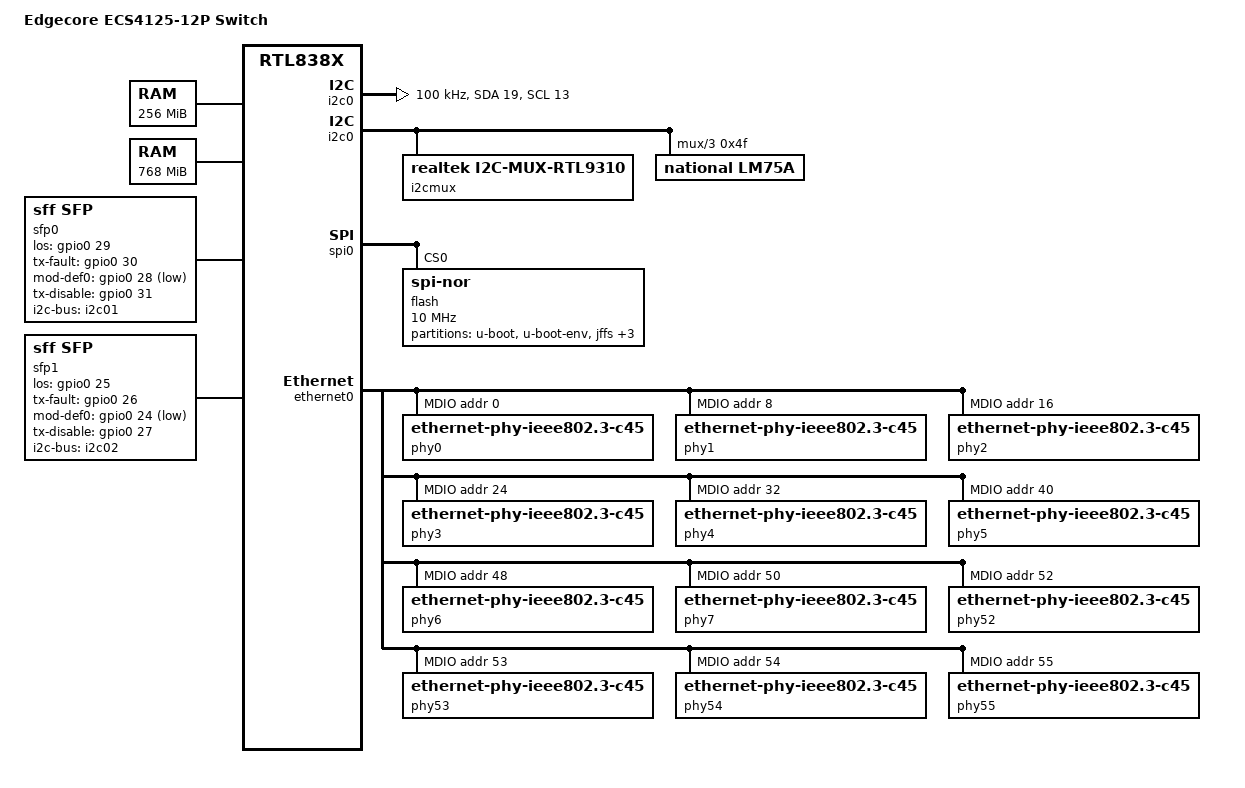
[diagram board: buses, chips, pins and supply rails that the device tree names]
/dts-v1/;

#include "rtl931x.dtsi"

#include <dt-bindings/input/input.h>
#include <dt-bindings/gpio/gpio.h>

/ {
	compatible = "edgecore,ecs4125-10p", "realtek,rtl838x-soc";
	model = "Edgecore ECS4125-12P Switch";
/*
	aliases {
		led-boot = &led_sys;
		led-failsafe = &led_sys;
		led-running = &led_sys;
		led-upgrade = &led_sys;
	};	
*/

	memory@0 {
		device_type = "memory";
		reg = <0x0 0x10000000>;
	};

	memory@90000000 {
		device_type = "memory";
		reg = <0x90000000 0x30000000>;
	};

	chosen {
		bootargs = "console=ttyS0,115200";
	};

	led_set: led_set@0 {
		compatible = "realtek,rtl9300-leds";
		led_set0 = <0x0000 0xffff 0x0a00 0x0bab>; // LED set 0: 2.5G/1G, 10/100Mbps
		led_set1 = <0x0000 0xffff 0x0a20 0x0a03>; // LED set 1: 10G, 1G
	};

	i2c0: i2c-rtl9310 {
		compatible = "realtek,rtl9310-i2c";
		reg = <0x1b001004 0x3c>;
		#address-cells = <1>;
		#size-cells = <0>;
		sda-pin = <19>;
		scl-pin = <13>;
		clock-frequency = <100000>;
	};

	i2cmux {
		compatible = "realtek,i2c-mux-rtl9310";
		#address-cells = <1>;
		#size-cells = <0>;
		i2c-parent = <&i2c0>;

		i2c01: i2c-rtl9310-1 {
			reg = <1>;
			#address-cells = <1>;
			#size-cells = <0>;
			sda-pin = <19>;
			scl-pin = <13>;
		};

		i2c02: i2c-rtl9310-2 {
			reg = <2>;
			#address-cells = <1>;
			#size-cells = <0>;
			sda-pin = <20>;
			scl-pin = <13>;
		};

		i2c03: i2c-rtl9310-3 {
			reg = <3>;
			#address-cells = <1>;
			#size-cells = <0>;
			sda-pin = <15>;
			scl-pin = <14>;

			lm75a@4f {
				compatible = "national,lm75a";
				reg = <0x4f>;
			};

		};
	};

	sfp0: sfp-p9 {
		compatible = "sff,sfp";
		i2c-bus = <&i2c01>;
		los-gpio = <&gpio0 29 GPIO_ACTIVE_HIGH>;
		tx-fault-gpio = <&gpio0 30 GPIO_ACTIVE_HIGH>;
		mod-def0-gpio = <&gpio0 28 GPIO_ACTIVE_LOW>;
		tx-disable-gpio = <&gpio0 31 GPIO_ACTIVE_HIGH>;
	};

	sfp1: sfp-p10 {
		compatible = "sff,sfp";
		i2c-bus = <&i2c02>;
		los-gpio = <&gpio0 25 GPIO_ACTIVE_HIGH>;
		tx-fault-gpio = <&gpio0 26 GPIO_ACTIVE_HIGH>;
		mod-def0-gpio = <&gpio0 24 GPIO_ACTIVE_LOW>;
		tx-disable-gpio = <&gpio0 27 GPIO_ACTIVE_HIGH>;
	};

};

&spi0 {
	status = "okay";
	flash@0 {
		compatible = "jedec,spi-nor";
		reg = <0>;
		spi-max-frequency = <10000000>;

		partitions {
			compatible = "fixed-partitions";
			#address-cells = <1>;
			#size-cells = <1>;

			partition@0 {
				label = "u-boot";
				reg = <0x0 0x100000>;
			};
			partition@100000 {
				label = "u-boot-env";
				reg = <0x100000 0x10000>;
			};
			partition@120000 {
				label = "jffs";
				reg = <0x120000 0x100000>;
			};
			partition@220000 {
				label = "jffs2";
				reg = <0x220000 0x100000>;
			};
			partition@320000 {
				label = "firmware";
				reg = <0x320000 0x1e80000>;
				compatible = "openwrt,uimage", "denx,uimage";
			};
			partition@2200000 {
				label = "runtime2";
				reg = <0x2200000 0x1e00000>;
			};
		};
	};
};

&ethernet0 {
	mdio: mdio-bus {
		compatible = "realtek,rtl838x-mdio";
		regmap = <&ethernet0>;
		#address-cells = <1>;
		#size-cells = <0>;
		
		/* 8 External RTL8221D PHYs */
		phy0: ethernet-phy@0 {
			reg = <0>;
			compatible = "ethernet-phy-ieee802.3-c45";
			rtl9300,smi-address = <0 4>;
			sds = < 2 >;
		};
		phy1: ethernet-phy@1 {
			reg = <8>;
			compatible = "ethernet-phy-ieee802.3-c45";
			rtl9300,smi-address = <0 2>;
			sds = < 3 >;
		};
		phy2: ethernet-phy@2 {
			reg = <16>;
			compatible = "ethernet-phy-ieee802.3-c45";
			rtl9300,smi-address = <0 6>;
			sds = < 4 >;
		};
		phy3: ethernet-phy@3 {
			reg = <24>;
			compatible = "ethernet-phy-ieee802.3-c45";
			rtl9300,smi-address = <0 1>;
			sds = < 5 >;
		};
		phy4: ethernet-phy@4 {
			reg = <32>;
			compatible = "ethernet-phy-ieee802.3-c45";
			rtl9300,smi-address = <1 4>;
			sds = < 6 >;
		};
		phy5: ethernet-phy@5 {
			reg = <40>;
			compatible = "ethernet-phy-ieee802.3-c45";
			rtl9300,smi-address = <1 2>;
			sds = < 7 >;
		};
		phy6: ethernet-phy@6 {
			reg = <48>;
			compatible = "ethernet-phy-ieee802.3-c45";
			rtl9300,smi-address = <1 6>;
			sds = < 8 >;
		};
		phy7: ethernet-phy@7 {
			reg = <50>;
			compatible = "ethernet-phy-ieee802.3-c45";
			rtl9300,smi-address = <1 1>;
			sds = < 9 >;
		};

		/* RTL9313 Internal Serdes */
		// These do not actually exist, but are still wired
		// and configured in order to not confuse the LED polling
		phy52: ethernet-phy@8 {
			compatible = "ethernet-phy-ieee802.3-c45";
			phy-is-integrated;
			reg = <52>;
			sds = < 10 >;
			sds-tx-inverted;
		};
		phy53: ethernet-phy@9 {
			compatible = "ethernet-phy-ieee802.3-c45";
			phy-is-integrated;
			reg = <53>;
			sds = < 11 >;
			sds-tx-inverted;
		};

		// These 2 ports exist physically
		phy54: ethernet-phy@10 {
			compatible = "ethernet-phy-ieee802.3-c45";
			phy-is-integrated;
			reg = <54>;
			sds = < 12 >;
			sds-tx-inverted;
		};
		phy55: ethernet-phy@11 {
			compatible = "ethernet-phy-ieee802.3-c45";
			phy-is-integrated;
			reg = <55>;
			sds = < 13 >;
			sds-tx-inverted;
		};

	};
};

&switch0 {
	ports {
		#address-cells = <1>;
		#size-cells = <0>;

		port@0 {
			reg = <0>;
			label = "lan2";
			phy-handle = <&phy0>;
			phy-mode = "hsgmii";
			led-set = <0>;
		};
		port@8 {
			reg = <8>;
			label = "lan1";
			phy-handle = <&phy1>;
			phy-mode = "hsgmii";
			led-set = <0>;
		};
		port@16 {
			reg = <16>;
			label = "lan4";
			phy-handle = <&phy2>;
			phy-mode = "hsgmii";
			led-set = <0>;
		};
		port@24 {
			reg = <24>;
			label = "lan3";
			phy-handle = <&phy3>;
			phy-mode = "hsgmii";
			led-set = <0>;
		};
		port@32 {
			reg = <32>;
			label = "lan6";
			phy-handle = <&phy4>;
			phy-mode = "hsgmii";
			led-set = <0>;
		};
		port@40 {
			reg = <40>;
			label = "lan5";
			phy-handle = <&phy5>;
			phy-mode = "hsgmii";
			led-set = <0>;
		};
		port@48 {
			reg = <48>;
			label = "lan8";
			phy-handle = <&phy6>;
			phy-mode = "hsgmii";
			led-set = <0>;
		};
		port@50 {
			reg = <50>;
			label = "lan7";
			phy-handle = <&phy7>;
			phy-mode = "hsgmii";
			led-set = <0>;
		};

		/* RTL9313 Internal SerDes */
		port@52 {  // Not physically present
			reg = <52>;
			label = "lan9";
			phy-mode = "1000base-x";
			phy-handle = <&phy52>;
			led-set = <0>;
			managed = "in-band-status";
		};
		port@53 {  // Not physically present
			reg = <53>;
			label = "lan10";
			phy-mode = "1000base-x";
			phy-handle = <&phy53>;
			led-set = <0>;
			managed = "in-band-status";
		};
		port@54 {  // Left port
			reg = <54>;
			label = "lan11";
			phy-mode = "1000base-x";
			phy-handle = <&phy54>;
			sfp = <&sfp0>;
			led-set = <0>;
			managed = "in-band-status";
		};
		port@55 {  // Right port
			reg = <55>;
			label = "lan12";
			phy-mode = "1000base-x";
			phy-handle = <&phy55>;
			led-set = <0>;
			sfp = <&sfp1>;
			managed = "in-band-status";
		};

		/* CPU-Port */
		port@56 {
			ethernet = <&ethernet0>;
			reg = <56>;
			phy-mode = "qsgmii";
			fixed-link {
				speed = <1000>;
				full-duplex;
			};
		};
	};
};
